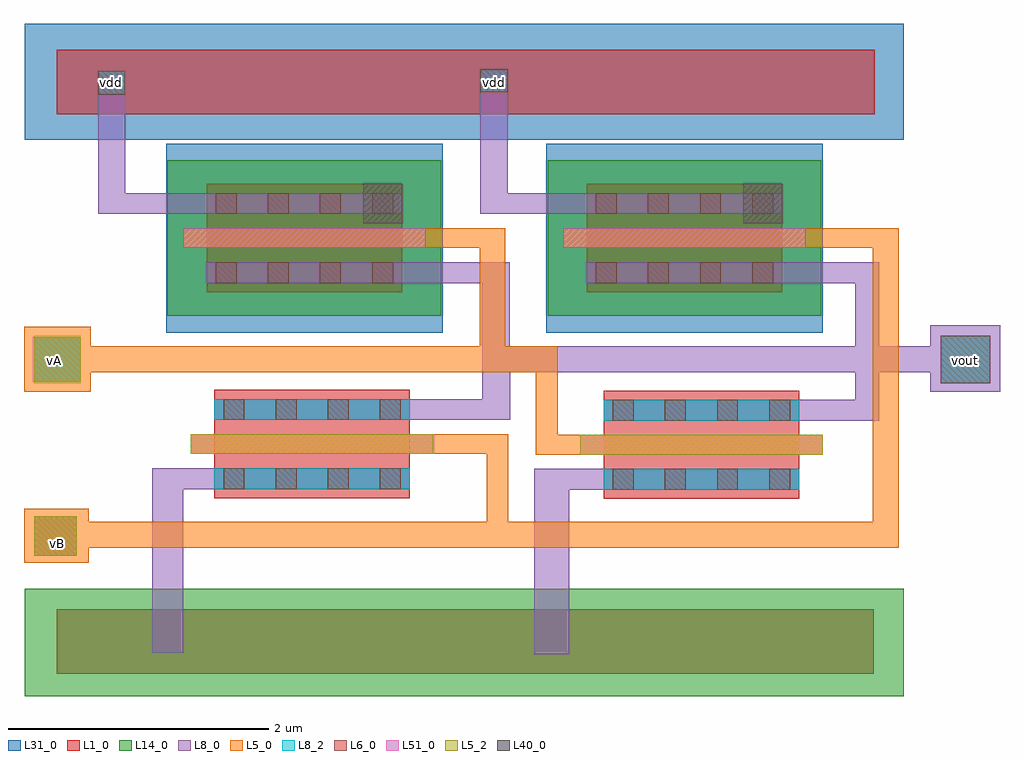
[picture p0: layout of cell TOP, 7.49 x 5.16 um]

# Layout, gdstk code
from math import pi, radians
import gdstk
lib = gdstk.Library(unit=1e-6, precision=5e-09)
def R(c, l, rs):  # rectangles x0, y0, x1, y1
    for r in rs: c.add(gdstk.rectangle(r[:2], r[2:], *l))
def A(c, l, x, y, w, h, nx, ny, dx, dy):  # array of equal rectangles
    R(c, l, [(x+i*dx, y+j*dy, x+i*dx+w, y+j*dy+h) for i in range(nx) for j in range(ny)])
def P(c, l, *ps):  # polygons
    for p in ps: c.add(gdstk.Polygon(p, *l))
L1_0 = (1, 0)
L5_0 = (5, 0)
L5_2 = (5, 2)
L6_0 = (6, 0)
L8_0 = (8, 0)
L8_2 = (8, 2)
L14_0 = (14, 0)
L31_0 = (31, 0)
L40_0 = (40, 0)
L51_0 = (51, 0)

pmos = lib.new_cell('pmos')
R(pmos, L1_0, [(0,0,0.3,0.3), (0,0,0.83,1.5), (0.53,0,0.83,0.3)])
R(pmos, L5_0, [(0.34,-0.18,0.49,1.68), (0.34,-0.18,0.49,1.68)])
A(pmos, L6_0, 0.07, 0.07, 0.16, 0.16, 1, 4, 0, 0.4)
A(pmos, L6_0, 0.6, 0.07, 0.16, 0.16, 1, 4, 0, 0.4)
R(pmos, L8_0, [(0.07,0,0.23,1.5), (0.07,0,0.23,1.5), (0.6,0,0.76,1.5), (0.6,0,0.76,1.5)])
R(pmos, L14_0, [(-0.18,-0.3,1.01,1.8)])
R(pmos, L31_0, [(-0.31,-0.31,1.14,1.81)])
R(pmos, L40_0, [(0.53,0,0.83,0.3)])
R(pmos, L51_0, [(0.34,-0.18,0.49,1.68)])
pmos.add(gdstk.Label('pmos', (0.415,0.75), layer=63, texttype=0))
pmos.add(gdstk.Label('pmos', (0.415,0.75), layer=51, texttype=0))

nmos_1 = lib.new_cell('nmos$1')
R(nmos_1, L1_0, [(0,0,0.3,0.3), (0,0,0.83,1.5), (0.53,0,0.83,0.3)])
R(nmos_1, L5_0, [(0.34,-0.18,0.49,1.68)])
R(nmos_1, L5_2, [(0.34,-0.18,0.49,1.68)])
A(nmos_1, L6_0, 0.07, 0.07, 0.16, 0.16, 1, 4, 0, 0.4)
A(nmos_1, L6_0, 0.6, 0.07, 0.16, 0.16, 1, 4, 0, 0.4)
R(nmos_1, L8_0, [(0.07,0,0.23,1.5), (0.6,0,0.76,1.5)])
R(nmos_1, L8_2, [(0.07,0,0.23,1.5), (0.6,0,0.76,1.5)])
R(nmos_1, L51_0, [(0.34,-0.18,0.49,1.68)])
nmos_1.add(gdstk.Label('nmos', (0.415,0.75), layer=63, texttype=0))
nmos_1.add(gdstk.Label('nmos', (0.415,0.75), layer=51, texttype=0))

top = lib.new_cell('TOP')
R(top, L1_0, [(-6.465,0.565,-0.2,1.06), (-6.465,4.855,-0.19,5.35)])
P(top, L5_0, [(-6.715,2.725),(-6.715,3.225),(-6.205,3.225),(-6.205,3.075),(-3.22,3.075),(-3.22,3.83),(-3.635,3.83),(-3.635,3.98),(-3.025,3.98),(-3.025,3.075),(-2.62,3.075),(-2.62,2.875),(-6.205,2.875),(-6.205,2.725)],
  [(-2.79,2.245),(-2.79,2.885),(-2.62,2.885),(-2.62,2.395),(-2.45,2.395),(-2.45,2.245)],
  [(-3.165,1.73),(-3.165,2.25),(-3.575,2.25),(-3.575,2.4),(-3,2.4),(-3,1.73)],
  [(-6.715,1.415),(-6.715,1.83),(-6.22,1.83),(-6.22,1.73),(-0.205,1.73),(-0.205,3.83),(-0.72,3.83),(-0.72,3.98),(-0.205,3.98),(-0.005,3.98),(-0.005,1.53),(-6.22,1.53),(-6.22,1.415)])
R(top, L5_2, [(-6.635,1.47,-6.31,1.77), (-6.64,2.8,-6.28,3.15)])
R(top, L6_0, [(-6.635,1.47,-6.31,1.77), (0.315,2.79,0.695,3.155), (-6.64,2.8,-6.28,3.15), (-6.145,5.005,-5.94,5.19), (-3.215,5.025,-3.005,5.2)])
R(top, L8_0, [(-6.635,1.47,-6.31,1.77)])
P(top, L8_0, [(-0.77,2.505),(-0.77,2.665),(-0.34,2.665),(-0.34,2.875),(-2.985,2.875),(-2.985,2.51),(-3.755,2.51),(-3.755,2.67),(-3.2,2.67),(-3.2,3.56),(-3.815,3.56),(-3.815,3.72),(-2.99,3.72),(-2.99,3.075),(-0.34,3.075),(-0.34,3.56),(-0.9,3.56),(-0.9,3.72),(-0.155,3.72),(-0.155,3.075),(0.235,3.075),(0.235,3.235),(0.77,3.235),(0.77,2.725),(0.235,2.725),(0.235,2.875),(-0.155,2.875),(-0.155,2.505)],
  [(-5.73,0.725),(-5.73,2.14),(-5.255,2.14),(-5.255,1.98),(-5.495,1.98),(-5.495,0.725)],
  [(-2.8,0.715),(-2.8,2.135),(-2.27,2.135),(-2.27,1.975),(-2.535,1.975),(-2.535,0.715)],
  [(-6.145,4.09),(-6.145,5.19),(-5.94,5.19),(-5.94,4.25),(-5.315,4.25),(-5.315,4.09)],
  [(-3.215,4.09),(-3.215,5.2),(-3.005,5.2),(-3.005,4.25),(-2.4,4.25),(-2.4,4.09)])
R(top, L8_2, [(0.315,2.79,0.695,3.155), (-6.64,2.8,-6.28,3.15), (-6.145,5.005,-5.94,5.19), (-3.215,5.025,-3.005,5.2)])
P(top, L14_0, [(-6.71,0.39),(-6.71,1.215),(-0.615,1.215),(0.03,1.215),(0.03,0.39)])
R(top, L31_0, [(-6.71,4.66,0.03,5.55)])
top.add(gdstk.Reference(pmos, (-0.9,3.49), rotation=pi/2))
top.add(gdstk.Reference(pmos, (-3.815,3.49), rotation=pi/2))
top.add(gdstk.Reference(nmos_1, (-0.77,1.905), rotation=pi/2))
top.add(gdstk.Reference(nmos_1, (-3.755,1.91), rotation=pi/2))
top.add(gdstk.Label('vB', (-6.46,1.565), layer=8, texttype=0))
top.add(gdstk.Label('vA', (-6.48,2.97), layer=8, texttype=2))
top.add(gdstk.Label('vout', (0.505,2.97), layer=8, texttype=2))
top.add(gdstk.Label('vdd', (-6.045,5.095), layer=8, texttype=2))
top.add(gdstk.Label('vdd', (-3.11,5.1), layer=8, texttype=2))

lib.write_gds('TOP.gds')
